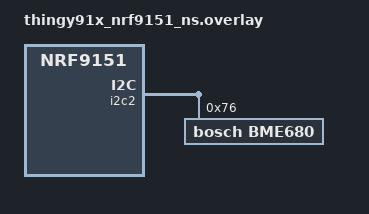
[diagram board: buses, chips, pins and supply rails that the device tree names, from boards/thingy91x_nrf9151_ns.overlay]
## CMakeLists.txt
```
#
# Copyright (c) 2023 Nordic Semiconductor
#
# SPDX-License-Identifier: LicenseRef-Nordic-5-Clause
#

cmake_minimum_required(VERSION 3.20.0)

find_package(Zephyr REQUIRED HINTS $ENV{ZEPHYR_BASE})
project(bme68x_iaq)

FILE(GLOB app_sources src/*.c)
# NORDIC SDK APP START
target_sources(app PRIVATE ${app_sources})
# NORDIC SDK APP END
```

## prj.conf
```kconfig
#
# Copyright (c) 2023 Nordic Semiconductor
#
# SPDX-License-Identifier: LicenseRef-Nordic-5-Clause
#

CONFIG_SENSOR=y
CONFIG_SENSOR_INFO=y

CONFIG_BME680=y


CONFIG_BME68X_IAQ=n

# Settings - Used to store real-time device configuration to flash.
CONFIG_SETTINGS=y
CONFIG_SETTINGS_FCB=y
CONFIG_FCB=y
CONFIG_FLASH=y
CONFIG_FLASH_PAGE_LAYOUT=y
CONFIG_FLASH_MAP=y
CONFIG_STREAM_FLASH=y
CONFIG_MPU_ALLOW_FLASH_WRITE=y

CONFIG_LOG=y
CONFIG_CONSOLE=y

CONFIG_ASSERT=y
CONFIG_REBOOT=y
CONFIG_FPU=y
```

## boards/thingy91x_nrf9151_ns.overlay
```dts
&i2c2 {
    status = "okay";

    bme680@76 {
        compatible = "bosch,bme680";
        reg = <0x76>;
        status = "okay";
    };
};
```

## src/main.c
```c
/*
 * Copyright (c) 2023 Nordic Semiconductor ASA.
 *
 * SPDX-License-Identifier: LicenseRef-Nordic-5-Clause
 */

#include <zephyr/kernel.h>
#include <zephyr/device.h>
#include <zephyr/drivers/sensor.h>
#include <stdio.h>
#include <zephyr/sys/__assert.h>
#include <drivers/bme68x_iaq.h>

#include <zephyr/logging/log.h>
LOG_MODULE_REGISTER(app, CONFIG_APP_LOG_LEVEL);

// #if defined(CONFIG_APP_TRIGGER)
// const struct sensor_trigger trig = {
// 	.chan = SENSOR_CHAN_ALL,
// 	.type = SENSOR_TRIG_TIMER,
// };

// static void trigger_handler(const struct device *dev, const struct sensor_trigger *trig)
// {
// 	struct sensor_value temp, press, humidity, iaq, co2, voc;

// 	sensor_sample_fetch(dev);
// 	sensor_channel_get(dev, SENSOR_CHAN_AMBIENT_TEMP, &temp);
// 	sensor_channel_get(dev, SENSOR_CHAN_PRESS, &press);
// 	sensor_channel_get(dev, SENSOR_CHAN_HUMIDITY, &humidity);
// 	sensor_channel_get(dev, SENSOR_CHAN_CO2, &co2);
// 	sensor_channel_get(dev, SENSOR_CHAN_VOC, &voc);
// 	sensor_channel_get(dev, SENSOR_CHAN_IAQ, &iaq);

// 	LOG_INF("temp: %d.%06d; press: %d.%06d; humidity: %d.%06d; iaq: %d; CO2: %d.%06d; VOC: "
// 		"%d.%06d",
// 		temp.val1, temp.val2, press.val1, press.val2, humidity.val1, humidity.val2,
// 		iaq.val1, co2.val1, co2.val2, voc.val1, voc.val2);
// };
// #endif /* defined(CONFIG_APP_TRIGGER) */

int main(void)
{
	const struct device *const dev = DEVICE_DT_GET_ANY(bosch_bme680);

	LOG_INF("App started");

	k_sleep(K_SECONDS(5));

	if (dev == NULL) {
		LOG_ERR("no device found");
		return 0;
	}
	if (!device_is_ready(dev)) {
		LOG_ERR("device is not ready");
		return 0;
	}

// #if defined(CONFIG_APP_TRIGGER)
// 	int ret = sensor_trigger_set(dev, &trig, trigger_handler);

// 	if (ret) {
// 		LOG_ERR("couldn't set trigger");
// 		return 0;
// 	}

	while (1) {
		struct sensor_value temp, press, humidity, iaq, co2, voc;

		sensor_sample_fetch(dev);
		sensor_channel_get(dev, SENSOR_CHAN_AMBIENT_TEMP, &temp);
		sensor_channel_get(dev, SENSOR_CHAN_PRESS, &press);
		sensor_channel_get(dev, SENSOR_CHAN_HUMIDITY, &humidity);
		sensor_channel_get(dev, SENSOR_CHAN_IAQ, &iaq);
		sensor_channel_get(dev, SENSOR_CHAN_CO2, &co2);
		sensor_channel_get(dev, SENSOR_CHAN_VOC, &voc);

		LOG_INF("temp: %d.%06d; press: %d.%06d; humidity: %d.%06d; iaq: %d; CO2: %d.%06d; "
			"VOC: %d.%06d",
			temp.val1, temp.val2, press.val1, press.val2, humidity.val1, humidity.val2,
			iaq.val1, co2.val1, co2.val2, voc.val1, voc.val2);
			k_msleep(1000);
	}
/* defined(CONFIG_APP_TRIGGER) */

	return 0;
}
```
